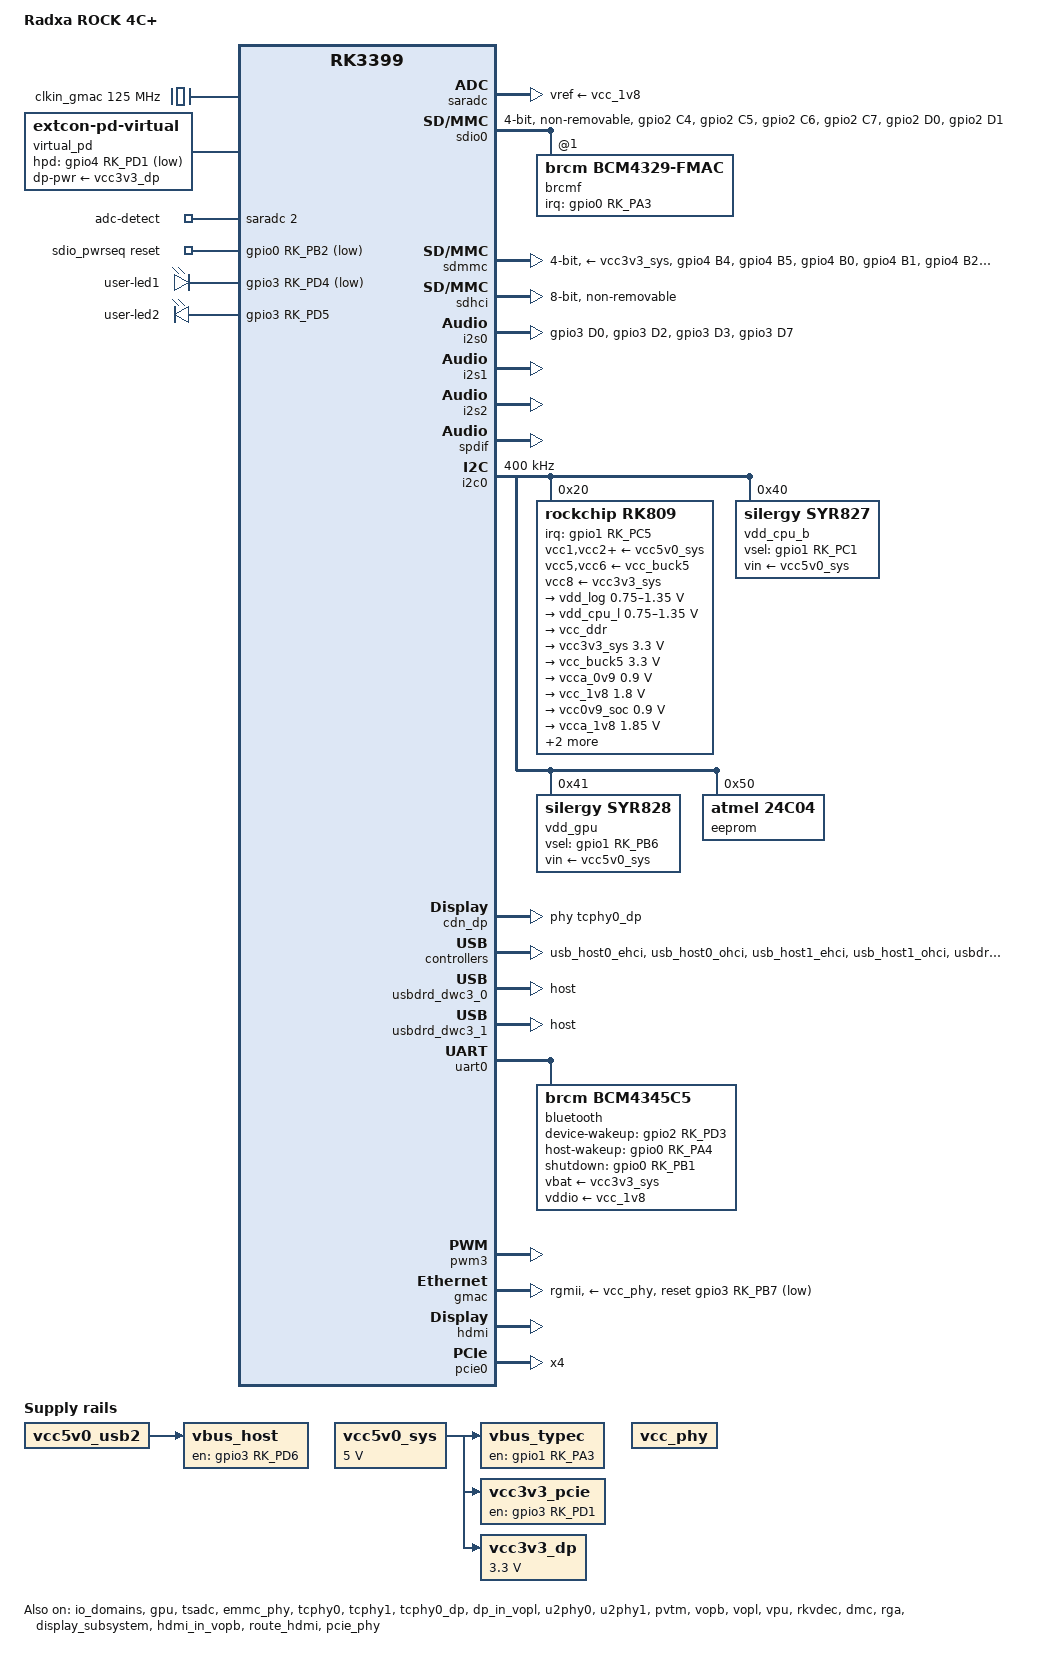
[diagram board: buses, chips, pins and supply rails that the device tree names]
// SPDX-License-Identifier: (GPL-2.0+ OR MIT)
/*
 * Copyright (c) 2019-2020 Fuzhou Rockchip Electronics Co., Ltd.
 * Copyright (c) 2022 Radxa Computer Co., Ltd.
 */

/dts-v1/;

#include <dt-bindings/pwm/pwm.h>
#include <dt-bindings/input/input.h>
#include <dt-bindings/display/media-bus-format.h>
#include <dt-bindings/gpio/gpio.h>
#include "rk3399.dtsi"
#include "rk3399-linux.dtsi"
#include "rk3399-t-opp.dtsi"

/ {
	model = "Radxa ROCK 4C+";
	compatible = "radxa,rock-4c-plus", "rockchip,rk3399";

	fiq_debugger: fiq-debugger {
		status = "okay";
		compatible = "rockchip,fiq-debugger";
		rockchip,serial-id = <2>;
		rockchip,signal-irq = <182>;
		rockchip,wake-irq = <0>;
		rockchip,irq-mode-enable = <1>;  /* If enable uart uses irq instead of fiq */
		rockchip,baudrate = <1500000>;  /* Only 115200 and 1500000 */
		pinctrl-names = "default";
		pinctrl-0 = <&uart2c_xfer>;
	};

	vcc5v0_sys: vcc5v0-sys {
		compatible = "regulator-fixed";
		regulator-name = "vcc5v0_sys";
		regulator-always-on;
		regulator-boot-on;
		regulator-min-microvolt = <5000000>;
		regulator-max-microvolt = <5000000>;
	};

	vbus_host: vbus-host {
		compatible = "regulator-fixed";
		enable-active-high;
		gpio = <&gpio3 RK_PD6 GPIO_ACTIVE_HIGH>;
		pinctrl-names = "default";
		pinctrl-0 = <&vcc5v0_host_en>;
		regulator-name = "vbus_host";
		regulator-always-on;
		regulator-boot-on;
		vin-supply = <&vcc5v0_usb2>;
	};

	vbus_typec: vbus-typec {
		compatible = "regulator-fixed";
		enable-active-high;
		gpio = <&gpio1 RK_PA3 GPIO_ACTIVE_HIGH>;
		pinctrl-names = "default";
		pinctrl-0 = <&vbus_typec_en>;
		regulator-name = "vbus_typec";
		regulator-always-on;
		regulator-boot-on;
		vin-supply = <&vcc5v0_sys>;
	};

	vcc_phy: vcc-phy-regulator {
		compatible = "regulator-fixed";
		regulator-name = "vcc_phy";
		regulator-always-on;
		regulator-boot-on;
	};

	vcc3v3_pcie: vcc3v3-pcie-regulator {
		compatible = "regulator-fixed";
		enable-active-high;
		gpio = <&gpio3 RK_PD1 GPIO_ACTIVE_HIGH>;
		pinctrl-names = "default";
		pinctrl-0 = <&pcie_drv>;
		regulator-boot-on;
		regulator-always-on;
		regulator-name = "vcc3v3_pcie";
		vin-supply = <&vcc5v0_sys>;
	};

	clkin_gmac: external-gmac-clock {
		compatible = "fixed-clock";
		clock-frequency = <125000000>;
		clock-output-names = "clkin_gmac";
		#clock-cells = <0>;
	};

	hdmi_sound: hdmi-sound {
		status = "okay";
		compatible = "rockchip,hdmi";
		rockchip,mclk-fs = <256>;
		rockchip,card-name = "rockchip-hdmi0";
		rockchip,cpu = <&i2s2>;
		rockchip,codec = <&hdmi>;
		rockchip,jack-det;
	};

	dp0_sound: dp0-sound {
		status = "okay";
		compatible = "rockchip,hdmi";
		rockchip,card-name = "rockchip-hdmi1";
		rockchip,mclk-fs = <512>;
		rockchip,cpu = <&spdif>;
		rockchip,codec = <&cdn_dp 1>;
		rockchip,jack-det;
	};

	vcc3v3_dp: vcc3v3-dp {
		compatible = "regulator-fixed";
		regulator-name = "vcc3v3_dp";
		regulator-always-on;
		regulator-boot-on;
		regulator-min-microvolt = <3300000>;
		regulator-max-microvolt = <3300000>;
		vin-supply = <&vcc5v0_sys>;
	};

	virtual_pd: virtual-pd {
		compatible = "linux,extcon-pd-virtual";
		/* 0: positive, 1: negative*/
		vpd,init-flip = <0>;
		/* 0: u2, 1: u3*/
		vpd,init-ss = <1>;
		/* 0: dfp, 1: ufp, 2: dp 3: dp/ufp */
		vpd,init-mode = <2>;
		hpd-gpios = <&gpio4 RK_PD1 GPIO_ACTIVE_LOW>;
		pinctrl-names = "default";
		pinctrl-0 = <&hpd_en>;
		dp-pwr-supply = <&vcc3v3_dp>;
	};

	rk809_sound: rk809-sound {
		compatible = "rockchip,multicodecs-card";
		rockchip,card-name = "rockchip-rk809";
		rockchip,format = "i2s";
		rockchip,mclk-fs = <256>;
		rockchip,cpu = <&i2s0>;
		rockchip,codec = <&rk809_codec>;
		io-channels = <&saradc 2>;
		io-channel-names = "adc-detect";
		keyup-threshold-microvolt = <1800000>;
		poll-interval = <100>;
		rockchip,audio-routing = "Speaker", "Speaker Power";
		play-pause-key {
			label = "playpause";
			linux,code = <164>;
			press-threshold-microvolt = <2000>;
		};
	};

	sdio_pwrseq: sdio-pwrseq {
		compatible = "mmc-pwrseq-simple";
		clocks = <&rk809 1>;
		clock-names = "ext_clock";
		pinctrl-names = "default";
		pinctrl-0 = <&wifi_enable_h>;
		reset-gpios = <&gpio0 RK_PB2 GPIO_ACTIVE_LOW>;
	};

	gpio-leds {
		compatible = "gpio-leds";
		status = "okay";

		user-led1 {
			gpios = <&gpio3 RK_PD4 GPIO_ACTIVE_LOW>;
			linux,default-trigger = "default-on";
			default-state = "on";
		};

		user-led2 {
			gpios = <&gpio3 RK_PD5 GPIO_ACTIVE_HIGH>;
			linux,default-trigger = "heartbeat";
			default-state = "on";
		};
	};
};

&io_domains {
	status = "okay";
	bt656-supply = <&vcc_3v0>; /* bt656_gpio2ab_ms */
	audio-supply = <&vcca_1v8>; /* audio_gpio3d4a_ms */
	sdmmc-supply = <&vccio_sd>; /* sdmmc_gpio4b_ms */
	gpio1830-supply = <&vcc_3v0>; /* gpio1833_gpio4cd_ms */
};

&pmu_io_domains {
	status = "okay";
	pmu1830-supply = <&vcc_3v0>;
};

&cpu_l0 {
	cpu-supply = <&vdd_cpu_l>;
};

&cpu_l1 {
	cpu-supply = <&vdd_cpu_l>;
};

&cpu_l2 {
	cpu-supply = <&vdd_cpu_l>;
};

&cpu_l3 {
	cpu-supply = <&vdd_cpu_l>;
};

&cpu_b0 {
	cpu-supply = <&vdd_cpu_b>;
};

&cpu_b1 {
	cpu-supply = <&vdd_cpu_b>;
};

&gpu {
	status = "okay";
	mali-supply = <&vdd_gpu>;
};

&threshold {
	temperature = <85000>;
};

&target {
	temperature = <100000>;
};

&soc_crit {
	temperature = <105000>;
};

&tsadc {
	/* tshut mode 0:CRU 1:GPIO */
	rockchip,hw-tshut-mode = <1>;
	/* tshut polarity 0:LOW 1:HIGH */
	rockchip,hw-tshut-polarity = <1>;
	rockchip,hw-tshut-temp = <110000>;
	status = "okay";
};

&saradc {
	status = "okay";
	vref-supply = <&vcc_1v8>;
};

&sdio0 {
	#address-cells = <1>;
	#size-cells = <0>;
	bus-width = <4>;
	clock-frequency = <50000000>;
	cap-sdio-irq;
	cap-sd-highspeed;
	keep-power-in-suspend;
	mmc-pwrseq = <&sdio_pwrseq>;
	non-removable;
	pinctrl-names = "default";
	pinctrl-0 = <&sdio0_bus4 &sdio0_cmd &sdio0_clk>;
	sd-uhs-sdr104;
	status = "okay";

	brcmf: wifi@1 {
		compatible = "brcm,bcm4329-fmac";
		reg = <1>;
		interrupt-parent = <&gpio0>;
		interrupts = <RK_PA3 GPIO_ACTIVE_HIGH>;
		interrupt-names = "host-wake";
		pinctrl-names = "default";
		pinctrl-0 = <&wifi_host_wake_l>;
	};
};

&sdmmc {
	clock-frequency = <150000000>;
	clock-freq-min-max = <100000 150000000>;
	no-sdio;
	no-mmc;
	bus-width = <4>;
	cap-mmc-highspeed;
	cap-sd-highspeed;
	disable-wp;
	num-slots = <1>;
	sd-uhs-sdr104;
	vmmc-supply = <&vcc3v3_sys>;
	vqmmc-supply = <&vccio_sd>;
	pinctrl-names = "default";
	pinctrl-0 = <&sdmmc_clk &sdmmc_cmd &sdmmc_cd &sdmmc_bus4>;
	status = "okay";
};

&emmc_phy {
	status = "okay";
};

&sdhci {
	max-frequency = <150000000>;
	bus-width = <8>;
	mmc-hs400-1_8v;
	no-sdio;
	no-sd;
	non-removable;
	mmc-hs400-enhanced-strobe;
	status = "okay";
};

&i2s0 {
	status = "okay";
	#sound-dai-cells = <0>;
	pinctrl-names = "default";
	pinctrl-0 = <&i2s0_8ch_bus>;
};

&i2s1 {
	status = "okay";
	#sound-dai-cells = <0>;
};

&i2s2 {
	status = "okay";
	dmas = <&dmac_bus 4>;
	dma-names = "tx";
	#sound-dai-cells = <0>;
};

&spdif {
	status = "okay";
};

&i2c0 {
	status = "okay";
	i2c-scl-rising-time-ns = <180>;
	i2c-scl-falling-time-ns = <30>;
	clock-frequency = <400000>;

	rk809: pmic@20 {
		compatible = "rockchip,rk809";
		reg = <0x20>;

		interrupt-parent = <&gpio1>;
		interrupts = <RK_PC5 IRQ_TYPE_LEVEL_LOW>;
		pinctrl-names = "default", "pmic-sleep",
				"pmic-power-off", "pmic-reset";
		pinctrl-0 = <&pmic_int_l>;
		pinctrl-1 = <&soc_slppin_slp>, <&rk809_slppin_slp>;
		pinctrl-2 = <&soc_slppin_gpio>, <&rk809_slppin_pwrdn>;
		pinctrl-3 = <&soc_slppin_gpio>, <&rk809_slppin_null>;
		rockchip,system-power-controller;
		pmic-reset-func = <0>;
		wakeup-source;
		#clock-cells = <1>;
		clock-output-names = "rk808-clkout1", "rk808-clkout2";

		vcc1-supply = <&vcc5v0_sys>;
		vcc2-supply = <&vcc5v0_sys>;
		vcc3-supply = <&vcc5v0_sys>;
		vcc4-supply = <&vcc5v0_sys>;
		vcc5-supply = <&vcc_buck5>;
		vcc6-supply = <&vcc_buck5>;
		vcc7-supply = <&vcc5v0_sys>;
		vcc8-supply = <&vcc3v3_sys>;
		vcc9-supply = <&vcc5v0_sys>;

		pwrkey {
			status = "okay";
		};

		rtc {
			status = "okay";
		};

		pinctrl_rk8xx: pinctrl_rk8xx {
			gpio-controller;
			#gpio-cells = <2>;

			rk809_slppin_null: rk809_slppin_null {
				pins = "gpio_slp";
				function = "pin_fun0";
			};

			rk809_slppin_slp: rk809_slppin_slp {
				pins = "gpio_slp";
				function = "pin_fun1";
			};

			rk809_slppin_pwrdn: rk809_slppin_pwrdn {
				pins = "gpio_slp";
				function = "pin_fun2";
			};

			rk809_slppin_rst: rk809_slppin_rst {
				pins = "gpio_slp";
				function = "pin_fun3";
			};
		};

		regulators {
			vdd_log: DCDC_REG1 {
				regulator-always-on;
				regulator-boot-on;
				regulator-min-microvolt = <750000>;
				regulator-max-microvolt = <1350000>;
				regulator-initial-mode = <0x2>;
				regulator-name = "vdd_log";
				regulator-state-mem {
					regulator-off-in-suspend;
					regulator-suspend-microvolt = <900000>;
				};
			};

			vdd_cpu_l: DCDC_REG2 {
				regulator-always-on;
				regulator-boot-on;
				regulator-min-microvolt = <750000>;
				regulator-max-microvolt = <1350000>;
				regulator-ramp-delay = <6001>;
				regulator-initial-mode = <0x2>;
				regulator-name = "vdd_cpu_l";
				regulator-state-mem {
					regulator-off-in-suspend;
				};
			};

			vcc_ddr: DCDC_REG3 {
				regulator-always-on;
				regulator-boot-on;
				regulator-name = "vcc_ddr";
				regulator-initial-mode = <0x2>;
				regulator-state-mem {
					regulator-on-in-suspend;
				};
			};

			vcc3v3_sys: DCDC_REG4 {
				regulator-always-on;
				regulator-boot-on;
				regulator-min-microvolt = <3300000>;
				regulator-max-microvolt = <3300000>;
				regulator-initial-mode = <0x2>;
				regulator-name = "vcc3v3_sys";
				regulator-state-mem {
					regulator-on-in-suspend;
					regulator-suspend-microvolt = <3300000>;
				};
			};

			vcc_buck5: DCDC_REG5 {
				regulator-always-on;
				regulator-boot-on;
				regulator-min-microvolt = <3300000>;
				regulator-max-microvolt = <3300000>;
				regulator-name = "vcc_buck5";
				regulator-state-mem {
					regulator-on-in-suspend;
					regulator-suspend-microvolt = <3300000>;
				};
			};

			vcca_0v9: LDO_REG1 {
				regulator-always-on;
				regulator-boot-on;
				regulator-min-microvolt = <900000>;
				regulator-max-microvolt = <900000>;
				regulator-name = "vcca_0v9";
				regulator-state-mem {
					regulator-off-in-suspend;
				};
			};

			vcc_1v8: LDO_REG2 {
				regulator-always-on;
				regulator-boot-on;
				regulator-min-microvolt = <1800000>;
				regulator-max-microvolt = <1800000>;

				regulator-name = "vcc_1v8";
				regulator-state-mem {
					regulator-on-in-suspend;
					regulator-suspend-microvolt = <1800000>;
				};
			};

			vcc0v9_soc: LDO_REG3 {
				regulator-always-on;
				regulator-boot-on;
				regulator-min-microvolt = <900000>;
				regulator-max-microvolt = <900000>;

				regulator-name = "vcc0v9_soc";
				regulator-state-mem {
					regulator-on-in-suspend;
					regulator-suspend-microvolt = <900000>;
				};
			};

			vcca_1v8: LDO_REG4 {
				regulator-always-on;
				regulator-boot-on;
				regulator-min-microvolt = <1850000>;
				regulator-max-microvolt = <1850000>;

				regulator-name = "vcca_1v8";
				regulator-state-mem {
					regulator-off-in-suspend;
				};
			};

			vcc_mipi: LDO_REG5 {
				regulator-always-on;
				regulator-boot-on;
				regulator-min-microvolt = <3000000>;
				regulator-max-microvolt = <3000000>;

				regulator-name = "vcc_mipi";
				regulator-state-mem {
					regulator-off-in-suspend;
				};
			};

			vcc_1v5: LDO_REG6 {
				regulator-always-on;
				regulator-boot-on;
				regulator-min-microvolt = <1500000>;
				regulator-max-microvolt = <1500000>;

				regulator-name = "vcc_1v5";
				regulator-state-mem {
					regulator-off-in-suspend;
				};
			};

			vcc_3v0: LDO_REG7 {
				regulator-always-on;
				regulator-boot-on;
				regulator-min-microvolt = <3000000>;
				regulator-max-microvolt = <3000000>;

				regulator-name = "vcc_3v0";
				regulator-state-mem {
					regulator-off-in-suspend;
				};
			};

			vccio_sd: LDO_REG8 {
				regulator-always-on;
				regulator-boot-on;
				regulator-min-microvolt = <1800000>;
				regulator-max-microvolt = <3300000>;

				regulator-name = "vccio_sd";
				regulator-state-mem {
					regulator-off-in-suspend;
				};
			};

			vcc_cam: LDO_REG9 {
				regulator-always-on;
				regulator-boot-on;
				regulator-min-microvolt = <3300000>;
				regulator-max-microvolt = <3300000>;

				regulator-name = "vcc_cam";
				regulator-state-mem {
					regulator-off-in-suspend;
				};
			};

			vcc5v0_usb2: SWITCH_REG1 {
				regulator-min-microvolt = <5000000>;
				regulator-max-microvolt = <5000000>;

				regulator-name = "vcc5v0_usb2.0";
				regulator-state-mem {
					regulator-on-in-suspend;
					regulator-suspend-microvolt = <5000000>;
				};
			};

			lcd_3v3: SWITCH_REG2 {
				regulator-always-on;
				regulator-boot-on;
				regulator-min-microvolt = <3300000>;
				regulator-max-microvolt = <3300000>;

				regulator-name = "lcd_3v3";
				regulator-state-mem {
					regulator-off-in-suspend;
				};
			};
		};

		rk809_codec: codec {
			#sound-dai-cells = <0>;
			compatible = "rockchip,rk809-codec", "rockchip,rk817-codec";
			clocks = <&cru SCLK_I2S_8CH_OUT>;
			clock-names = "mclk";
			pinctrl-names = "default";
			pinctrl-0 = <&i2s_8ch_mclk>;
			assigned-clocks = <&cru SCLK_I2SOUT_SRC>;
			assigned-clock-parents = <&cru SCLK_I2S0_8CH>;
			hp-volume = <20>;
			spk-volume = <3>;
			status = "okay";
		};
	};

	vdd_cpu_b: syr827@40 {
		compatible = "silergy,syr827";
		reg = <0x40>;
		regulator-compatible = "fan53555-reg";
		pinctrl-0 = <&vsel1_gpio>;
		vsel-gpios = <&gpio1 RK_PC1 GPIO_ACTIVE_HIGH>;
		regulator-name = "vdd_cpu_b";
		regulator-min-microvolt = <712500>;
		regulator-max-microvolt = <1500000>;
		regulator-ramp-delay = <1000>;
		fcs,suspend-voltage-selector = <1>;
		regulator-always-on;
		regulator-boot-on;
		vin-supply = <&vcc5v0_sys>;
		regulator-state-mem {
			regulator-off-in-suspend;
		};
	};

	vdd_gpu: syr828@41 {
		compatible = "silergy,syr828";
		reg = <0x41>;
		regulator-compatible = "fan53555-reg";
		pinctrl-0 = <&vsel2_gpio>;
		vsel-gpios = <&gpio1 RK_PB6 GPIO_ACTIVE_HIGH>;
		regulator-name = "vdd_gpu";
		regulator-min-microvolt = <712500>;
		regulator-max-microvolt = <1500000>;
		regulator-ramp-delay = <1000>;
		fcs,suspend-voltage-selector = <1>;
		regulator-always-on;
		regulator-boot-on;
		vin-supply = <&vcc5v0_sys>;
		regulator-initial-mode = <1>; /* 1:force PWM 2:auto */
		regulator-state-mem {
			regulator-off-in-suspend;
		};
	};

	eeprom:	at24c04@50 {
		status = "okay";
		compatible = "atmel,24c04";
		reg = <0x50>;
		pagesize = <8>;
	};
};

&spi1 {
	status = "disabled";
	max-freq = <10000000>;
	#address-cells = <1>;
	#size-cells = <0>;

	spiflash: spi-flash@0 {
		#address-cells = <0x1>;
		#size-cells = <1>;
		compatible = "jedec,spi-nor";
		reg = <0x0>;
		spi-max-frequency = <10000000>;
		status = "disabled";

		partitions {
			compatible = "fixed-partitions";
			#address-cells = <1>;
			#size-cells = <1>;

			loader@0 {
				label = "loader";
				reg = <0x0 0x400000>;
			};
		};
	};
};

&tcphy0 {
	status = "okay";
	extcon = <&virtual_pd>;
};

&tcphy1 {
	status = "okay";
};

&cdn_dp {
	phys = <&tcphy0_dp>;
	extcon = <&virtual_pd>;
	status = "okay";
};

&tcphy0_dp {
	status = "okay";
};

&dp_in_vopl {
	status = "okay";
};

&dp_in_vopb {
	status = "disabled";
};

&u2phy0 {
	status = "okay";
	wakeup-source;

	u2phy0_otg: otg-port {
		status = "okay";
	};

	u2phy0_host: host-port {
		phy-supply = <&vbus_host>;
		status = "okay";
	};
};

&u2phy1 {
	status = "okay";
	wakeup-source;

	u2phy1_otg: otg-port {
		status = "okay";
	};

	u2phy1_host: host-port {
		phy-supply = <&vbus_host>;
		status = "okay";
	};
};

&usb_host0_ehci {
	status = "okay";
};

&usb_host0_ohci {
	status = "okay";
};

&usb_host1_ehci {
	status = "okay";
};

&usb_host1_ohci {
	status = "okay";
};

&usbdrd3_0 {
	status = "okay";
};

&usbdrd_dwc3_0 {
	dr_mode = "host";
	status = "okay";
};

&usbdrd3_1 {
	status = "okay";
};

&usbdrd_dwc3_1 {
	dr_mode = "host";
	status = "okay";
};

&uart0 {
	status = "okay";
	pinctrl-0 = <&uart0_xfer &uart0_cts &uart0_rts>;

	bluetooth {
		compatible = "brcm,bcm4345c5";
		clocks = <&rk809 1>;
		clock-names = "lpo";
		device-wakeup-gpios = <&gpio2 RK_PD3 GPIO_ACTIVE_HIGH>;
		host-wakeup-gpios = <&gpio0 RK_PA4 GPIO_ACTIVE_HIGH>;
		shutdown-gpios = <&gpio0 RK_PB1 GPIO_ACTIVE_HIGH>;
		max-speed = <1500000>;
		pinctrl-names = "default";
		pinctrl-0 = <&bt_host_wake_l &bt_wake_l &bt_enable_h>;
		vbat-supply = <&vcc3v3_sys>;
		vddio-supply = <&vcc_1v8>;
	};
};

&uart2 {
	status = "disabled";
};

//Fan
&pwm3 {
	status = "okay";
};

&gmac {
	phy-supply = <&vcc_phy>;
	phy-mode = "rgmii";
	clock_in_out = "input";
	snps,reset-gpio = <&gpio3 RK_PB7 GPIO_ACTIVE_LOW>;
	snps,reset-active-low;
	/* Reset time is 20ms, 100ms for rtl8211f */
	snps,reset-delays-us = <0 20000 100000>;
	assigned-clocks = <&cru SCLK_RMII_SRC>;
	assigned-clock-parents = <&clkin_gmac>;
	pinctrl-names = "default", "sleep";
	pinctrl-0 = <&rgmii_pins>;
	pinctrl-1 = <&rgmii_sleep_pins>;
	tx_delay = <0x2a>;
	rx_delay = <0x21>;
	status = "okay";
};

&pvtm {
	status = "okay";
};

&pmu_pvtm {
	status = "okay";
};

&vopb {
	status = "okay";
};

&vopb_mmu {
	status = "okay";
};

&vopl {
	status = "okay";
};

&vopl_mmu {
	status = "okay";
};

&isp0_mmu {
	status = "okay";
};

&isp1_mmu {
	status = "okay";
};

&vpu {
	status = "okay";
	/* 0 means ion, 1 means drm */
	//allocator = <0>;
};

&rkvdec {
	status = "okay";
	/* 0 means ion, 1 means drm */
	//allocator = <0>;
};

&dmc {
	status = "okay";
};

&rga {
	status = "okay";
};

&display_subsystem {
	status = "okay";
};

&hdmi {
	#address-cells = <1>;
	#size-cells = <0>;
	#sound-dai-cells = <0>;
	pinctrl-names = "default";
	pinctrl-0 = <&hdmi_i2c_xfer>, <&hdmi_cec>;
	status = "okay";
};

&hdmi_in_vopl {
	status = "disabled";
};

&hdmi_in_vopb {
	status = "okay";
};

&route_hdmi {
	status = "okay";
	connect = <&vopb_out_hdmi>;
};

//HDMI is bound to vopb:
&vopb {
	status = "okay";
	assigned-clocks = <&cru DCLK_VOP0_DIV>;
	assigned-clock-parents = <&cru PLL_VPLL>;
};

&vopl {
	status = "okay";
	assigned-clocks = <&cru DCLK_VOP1_DIV>;
	assigned-clock-parents = <&cru PLL_CPLL>;
};

&pcie_phy {
	status = "okay";
};

&pcie0 {
	ep-gpios = <&gpio1 RK_PA1 GPIO_ACTIVE_HIGH>;
	num-lanes = <4>;
	pinctrl-names = "default";
	pinctrl-0 = <&pcie_clkreqnb_cpm>;
	status = "okay";
};

&rockchip_suspend {
	status = "okay";
	rockchip,sleep-debug-en = <1>;
	rockchip,sleep-mode-config = <
		(0
		| RKPM_SLP_ARMPD
		| RKPM_SLP_PERILPPD
		| RKPM_SLP_DDR_RET
		| RKPM_SLP_PLLPD
		| RKPM_SLP_CENTER_PD
		)
	>;
	rockchip,wakeup-config = <
		(0
		| RKPM_GPIO_WKUP_EN
		| RKPM_PWM_WKUP_EN
		| RKPM_USB_WKUP_EN
		| RKPM_USB_LINESTATE_WKUP_EN
		)
	>;
	rockchip,pwm-regulator-config = <
		(0
		| PWM2_REGULATOR_EN
		)
	>;
	rockchip,power-ctrl =
		<&gpio1 17 GPIO_ACTIVE_HIGH>,
		<&gpio1 14 GPIO_ACTIVE_HIGH>,
		<&gpio0 3 GPIO_ACTIVE_HIGH>;
};

&pinctrl {
	bt {
		bt_enable_h: bt-enable-h {
			rockchip,pins = <0 RK_PB1 RK_FUNC_GPIO &pcfg_pull_none>;
		};

		bt_host_wake_l: bt-host-wake-l {
			rockchip,pins = <0 RK_PA4 RK_FUNC_GPIO &pcfg_pull_none>;
		};

		bt_wake_l: bt-wake-l {
			rockchip,pins = <2 RK_PD3 RK_FUNC_GPIO &pcfg_pull_none>;
		};
	};

	sdio0 {
		sdio0_bus4: sdio0-bus4 {
			rockchip,pins = <2 RK_PC4 1 &pcfg_pull_up_20ma>,
					<2 RK_PC5 1 &pcfg_pull_up_20ma>,
					<2 RK_PC6 1 &pcfg_pull_up_20ma>,
					<2 RK_PC7 1 &pcfg_pull_up_20ma>;
		};

		sdio0_cmd: sdio0-cmd {
			rockchip,pins = <2 RK_PD0 1 &pcfg_pull_up_20ma>;
		};

		sdio0_clk: sdio0-clk {
			rockchip,pins = <2 RK_PD1 1 &pcfg_pull_none_20ma>;
		};
	};

	wifi {
		wifi_enable_h: wifi-enable-h {
			rockchip,pins = <0 RK_PB2 RK_FUNC_GPIO &pcfg_pull_none>;
		};

		wifi_host_wake_l: wifi-host-wake-l {
			rockchip,pins = <0 RK_PA3 RK_FUNC_GPIO &pcfg_pull_none>;
		};
	};

	hpd {
		hpd_en: hpd-en {
			rockchip,pins = <4 RK_PD1 RK_FUNC_GPIO &pcfg_pull_none>;
		};
	};

	pmic {
		pmic_int_l: pmic-int-l {
			rockchip,pins =
				<1 RK_PC5 0 &pcfg_pull_up>;
		};

		vsel1_gpio: vsel1-gpio {
			rockchip,pins =
				<1 RK_PC1 0 &pcfg_pull_down>;
		};

		vsel2_gpio: vsel2-gpio {
			rockchip,pins =
				<1 RK_PB6 0 &pcfg_pull_down>;
		};

		soc_slppin_gpio: soc-slppin-gpio {
			rockchip,pins =
				<1 RK_PA5 0 &pcfg_output_low>;
		};

		soc_slppin_slp: soc-slppin-slp {
			rockchip,pins =
				<1 RK_PA5 1 &pcfg_pull_down>;
		};

		soc_slppin_rst: soc-slppin-rst {
			rockchip,pins =
				<1 RK_PA5 2 &pcfg_pull_none>;
		};
	};

	vbus_host {
		vcc5v0_host_en: vcc5v0-host-en {
			rockchip,pins =
				<3 RK_PD6 RK_FUNC_GPIO &pcfg_pull_up>;
		};
	};

	vbus_typec {
		vbus_typec_en: vbus-typec-en {
			rockchip,pins =
				<1 RK_PA3 RK_FUNC_GPIO &pcfg_pull_up>;
		};
	};

	gmac {
		rgmii_sleep_pins: rgmii-sleep-pins {
			rockchip,pins =
				<3 RK_PB7 RK_FUNC_GPIO &pcfg_output_low>;
		};
	};

	sdmmc {
		sdmmc_bus1: sdmmc-bus1 {
			rockchip,pins =
				<4 RK_PB0 1 &pcfg_pull_up_8ma>;
		};

		sdmmc_bus4: sdmmc-bus4 {
			rockchip,pins =
				<4 RK_PB0 1 &pcfg_pull_up_8ma>,
				<4 RK_PB1 1 &pcfg_pull_up_8ma>,
				<4 RK_PB2 1 &pcfg_pull_up_8ma>,
				<4 RK_PB3 1 &pcfg_pull_up_8ma>;
		};

		sdmmc_clk: sdmmc-clk {
			rockchip,pins =
				<4 RK_PB4 1 &pcfg_pull_none_18ma>;
		};

		sdmmc_cmd: sdmmc-cmd {
			rockchip,pins =
				<4 RK_PB5 1 &pcfg_pull_up_8ma>;
		};
	};

	i2s0 {
		i2s0_8ch_bus: i2s0-8ch-bus {
			rockchip,pins =
				<3 RK_PD0 1 &pcfg_pull_none>,
				<3 RK_PD2 1 &pcfg_pull_none>,
				<3 RK_PD3 1 &pcfg_pull_none>,
				<3 RK_PD7 1 &pcfg_pull_none>;
		};

		i2s_8ch_mclk: i2s-8ch-mclk {
			rockchip,pins =
				<4 RK_PA0 1 &pcfg_pull_none>;
		};
	};

	pcie {
		pcie_drv: pcie-drv {
			rockchip,pins =
				<3 RK_PD1 RK_FUNC_GPIO &pcfg_pull_none>;
		};
	};
};
